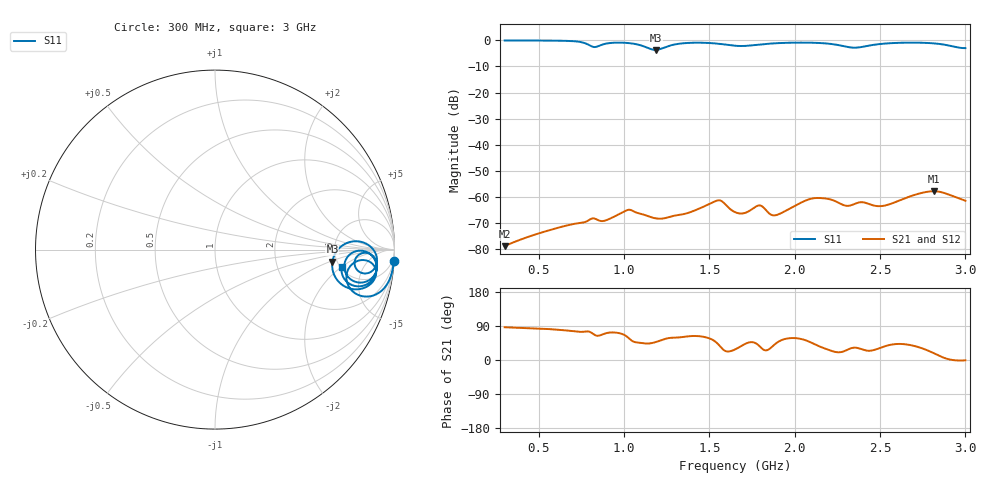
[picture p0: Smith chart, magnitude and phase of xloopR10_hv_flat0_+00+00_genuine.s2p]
! xloopR10_hv_flat0_+00+00_genuine, gap C 0.80 pF
! simulated by sim/fixtures_fdtd.py (S12 = S21, S22 not computed)
# HZ S RI R 50
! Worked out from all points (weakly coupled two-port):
!   541 points, 300 MHz to 3 GHz, reference 50 ohm
!   highest |S21| = -57.89 dB at 2.815 GHz (marker M1); lowest = -79.0 dB at 300 MHz (marker M2)
!   lowest |S11| = -3.6 dB at 1.185 GHz (marker M3), VSWR 4.84, Z = 228 - j54.8 ohm
!   |S11| at or under -10 dB: nowhere
!   |S22| runs from - to - dB; largest |S21 - S12| = 0
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3e8  0.9971 -0.0607  7e-06 0.000112  7e-06 0.000112  0 0
7.5e8  0.8908 -0.2524  8.59e-05 0.000304  8.59e-05 0.000304  0 0
8.2e8  0.7322 -0.1643  0.000142 0.000357  0.000142 0.000357  0 0
8.65e8  0.8125 -0.0587  0.000139 0.000311  0.000139 0.000311  0 0
1.025e9  0.8702 -0.1888  0.000292 0.000478  0.000292 0.000478  0 0
1.115e9  0.7407 -0.2135  0.000326 0.000314  0.000326 0.000314  0 0
1.185e9  0.6542 -0.068  0.000261 0.000282  0.000261 0.000282  0 0
1.2e9  0.6666 -0.0277  0.000247 0.000288  0.000247 0.000288  0 0
1.26e9  0.7787 0.0465  0.000216 0.000341  0.000216 0.000341  0 0
1.355e9  0.8866 -0.00679  0.000225 0.000411  0.000225 0.000411  0 0
1.55e9  0.856 -0.1297  0.000629 0.000572  0.000629 0.000572  0 0
1.65e9  0.7839 -0.1015  0.000448 0.000236  0.000448 0.000236  0 0
1.705e9  0.7818 -0.0536  0.000363 0.000321  0.000363 0.000321  0 0
1.795e9  0.8353 -0.0177  0.000552 0.000399  0.000552 0.000399  0 0
1.89e9  0.8825 -0.0382  0.00032 0.000306  0.00032 0.000306  0 0
2.1e9  0.8942 -0.1307  0.00065 0.000655  0.00065 0.000655  0 0
2.25e9  0.8001 -0.1834  0.000737 0.000275  0.000737 0.000275  0 0
2.345e9  0.7204 -0.0923  0.000603 0.000383  0.000603 0.000383  0 0
2.43e9  0.79 -0.0078  0.00067 0.000304  0.00067 0.000304  0 0
2.55e9  0.8801 -0.0405  0.000549 0.000446  0.000549 0.000446  0 0
2.815e9  0.8584 -0.1855  0.00121 0.00039  0.00121 0.00039  0 0
3e9  0.7057 -0.0946  0.000838 -1.24e-05  0.000838 -1.24e-05  0 0
